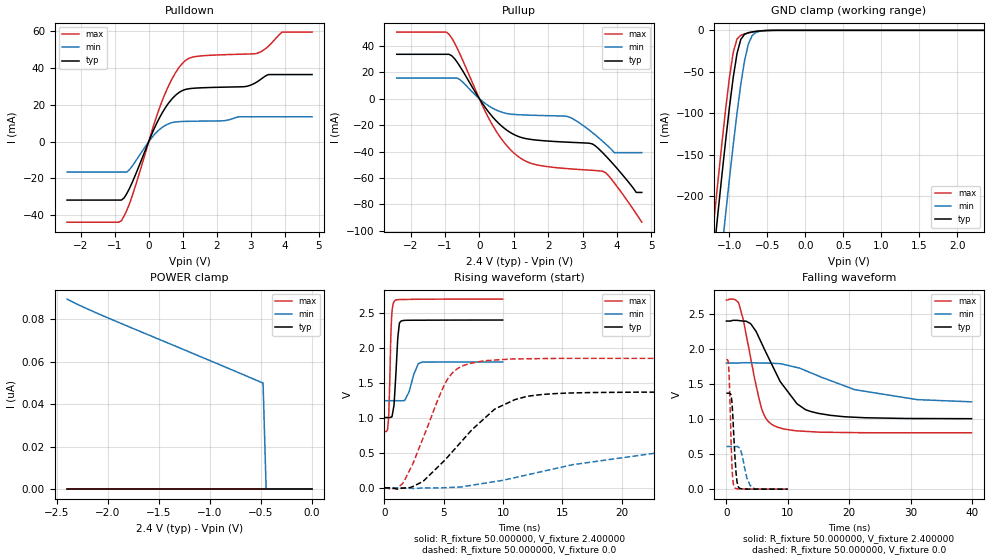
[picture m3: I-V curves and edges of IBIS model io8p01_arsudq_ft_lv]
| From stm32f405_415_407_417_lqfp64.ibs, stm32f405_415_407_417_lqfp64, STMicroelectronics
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|   Model io8p01_arsudq_ft_lv
[Model]  io8p01_arsudq_ft_lv
Model_type I/O
Polarity   Non-Inverting
Enable   Active-Low
Vinl =   0.720000V
Vinh =   1.680000V
Vmeas =  1.200000V
Cref =   50.000000pF
Rref =   100.000000M
Vref =   0.0V
C_comp   2.239000pF   2.178700pF   2.334000pF
[Temperature Range]   25.000000   0.125000k   -40.000000
[Pullup Reference]   2.400000V   1.800000V   2.700000V
[Pulldown Reference]   0.0V   0.0V   0.0V
[POWER Clamp Reference]   2.400000V   1.800000V   2.700000V
[GND Clamp Reference]   0.0V   0.0V   0.0V
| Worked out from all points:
|   slope of the pulldown table from 0 to 0.36 V, typ, clamps not added: 25 ohm
|   slope of the pullup table from 0 to 0.36 V, typ, clamps not added: 27.7 ohm
|   GND clamp passes 1 mA (typ) near -0.62 V on its own axis
|   rising waveform, R_fixture 50.000000, V_fixture 2.400000: 20-80 % time 273ps typ, 608ps min, 183ps max; typ from 1.01 V to 2.4 V
|   rising waveform, R_fixture 50.000000, V_fixture 0.0: 20-80 % time 4.75ns typ, 12.1ns min, 2.62ns max; typ from 0 V to 1.37 V
|   falling waveform, R_fixture 50.000000, V_fixture 2.400000: 20-80 % time 5.39ns typ, 12.4ns min, 2.67ns max; typ from 2.4 V to 1.01 V
|   falling waveform, R_fixture 50.000000, V_fixture 0.0: 20-80 % time 524ps typ, 977ps min, 383ps max; typ from 1.37 V to 0 V
[Pulldown]
|Voltage   I(typ)   I(min)   I(max)
-2.4V     -31.73mA   -16.51mA   -43.74mA
-800mV    -31.73mA   -16.51mA   -42.87mA
-480mV    -21.98mA   -13.17mA   -29.21mA
80mV      3.63mA     1.966mA    5.014mA
480mV     18.16mA    8.738mA    26.02mA
800mV     25.38mA    10.72mA    37.77mA
1.12V     28.53mA    11.02mA    44.6mA
2.8V      29.84mA    13.49mA    47.53mA
3.2V      32.65mA    13.49mA    48.05mA
3.52V     36.43mA    13.49mA    51.84mA
3.92V     36.43mA    13.49mA    59.49mA
4.8V      36.43mA    13.49mA    59.49mA
[Pullup]
|Voltage   I(typ)   I(min)   I(max)
-2.4V     33.57mA    15.56mA    50.37mA
-960mV    33.57mA    15.56mA    50.37mA
-560mV    24.29mA    14.3mA     33.55mA
320mV     -11.75mA   -6.207mA   -17.08mA
960mV     -26.47mA   -11.82mA   -40.02mA
1.52V     -30.88mA   -12.51mA   -49.05mA
2.56V     -32.88mA   -13.48mA   -52.9mA
3.28V     -34.19mA   -25.52mA   -54.18mA
3.6V      -41.31mA   -32.62mA   -54.97mA
3.92V     -50.32mA   -40.8mA    -63.62mA
4.56V     -70.9mA    -40.8mA    -87.08mA
4.72V     -70.9mA    -40.8mA    -93.4mA
[GND_clamp]
|Voltage   I(typ)   I(min)   I(max)
-2.4V     -1.424A    -1.508A    -1.393A
-1.25V    -311.2mA   -401.9mA   -273.3mA
-1.2V     -265.4mA   -356.1mA   -227.2mA
-1.15V    -220.4mA   -310.8mA   -181.9mA
-1.1V     -176.3mA   -266.2mA   -137.9mA
-1.05V    -133.8mA   -222.5mA   -95.87mA
-950mV    -57.3mA    -138.9mA   -26.98mA
-900mV    -28.27mA   -100.4mA   -10.59mA
-850mV    -11.01mA   -65.54mA   -5.958mA
-750mV    -2.834mA   -16.5mA    -3.178mA
-600mV    -750uA     -1.164mA   -738.3uA
2.35V     0A         0A         0A
[POWER_clamp]
|Voltage   I(typ)   I(min)   I(max)
-2.4V     0A         89.62nA    0A
-2.04V    0A         81.57nA    0A
-480mV    0A         50.01nA    0A
-450mV    0A         0A         0A
0V        0A         0A         0A
[Ramp]
| variable   typ   min   max
dV/dt_r  0.82218/4.74259n   0.38457/12.99334n   1.11108/2.61744n
dV/dt_f  0.83670/5.39450n   0.32352/13.30194n   1.13759/2.66581n
R_load = 50.000000
[Rising Waveform]
R_fixture= 50.000000
V_fixture= 2.400000
V_fixture_min= 1.800000
V_fixture_max= 2.700000
|time   V(typ)   V(min)   V(max)
0s        1.006V     1.247V     804.6mV
260.3ps   1.006V     1.247V     831mV
340.3ps   1.006V     1.247V     988.4mV
600.6ps   1.014V     1.247V     2.439V
860.9ps   1.341V     1.247V     2.675V
1.121ns   2.141V     1.247V     2.691V
1.381ns   2.382V     1.245V     2.693V
1.722ns   2.395V     1.255V     2.694V
3.103ns   2.398V     1.793V     2.697V
9.97ns    2.4V       1.8V       2.7V
[Rising Waveform]
R_fixture= 50.000000
V_fixture= 0.0
V_fixture_min= 0.0
V_fixture_max= 0.0
|time   V(typ)   V(min)   V(max)
0s        177.8uV    73.75uV    444.9uV
1.602ns   -2.709mV   -101.8uV   77.61mV
3.283ns   97.07mV    -699.3uV   724.5mV
5.125ns   402.6mV    3.293mV    1.496V
6.006ns   570.5mV    9.47mV     1.685V
7.207ns   799.5mV    33.59mV    1.78V
9.369ns   1.133V     91.57mV    1.828V
12.97ns   1.329V     221.7mV    1.848V
24.82ns   1.369V     543.1mV    1.852V
39.88ns   1.37V      609mV      1.852V
[Falling Waveform]
R_fixture= 50.000000
V_fixture= 2.400000
V_fixture_min= 1.800000
V_fixture_max= 2.700000
|time   V(typ)   V(min)   V(max)
0s        2.4V       1.8V       2.7V
2.002ns   2.407V     1.801V     2.655V
2.723ns   2.4V       1.805V     2.423V
3.924ns   2.363V     1.805V     1.882V
5.766ns   2.075V     1.8V       1.137V
7.608ns   1.74V      1.796V     912.5mV
11.45ns   1.223V     1.738V     832.3mV
13.77ns   1.107V     1.66V      820.6mV
20.9ns    1.027V     1.42V      807.4mV
39.88ns   1.006V     1.247V     804.6mV
[Falling Waveform]
R_fixture= 50.000000
V_fixture= 0.0
V_fixture_min= 0.0
V_fixture_max= 0.0
|time   V(typ)   V(min)   V(max)
0s        1.37V      609mV      1.852V
380.4ps   1.37V      609.1mV    1.72V
480.5ps   1.37V      609mV      1.523V
880.9ps   1.257V     608.8mV    364.2mV
1.061ns   1.004V     608.5mV    116.1mV
1.281ns   622.4mV    608.4mV    32.48mV
1.702ns   119.4mV    610.5mV    6.651mV
2.102ns   16.02mV    591.5mV    3.789mV
3.864ns   1.419mV    53.08mV    1.613mV
9.97ns    177.8uV    73.75uV    444.9uV
